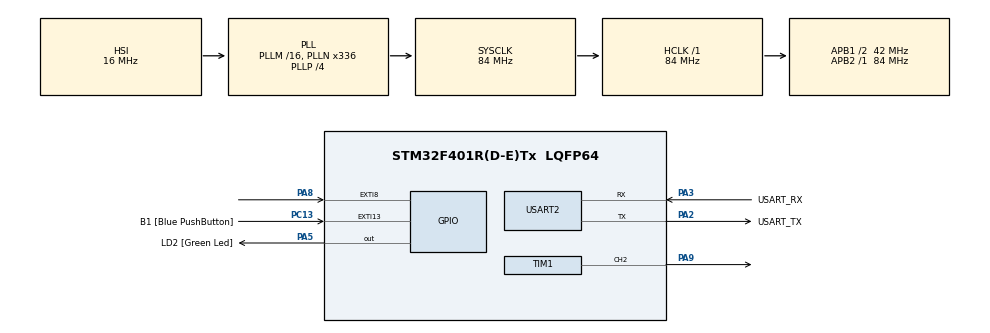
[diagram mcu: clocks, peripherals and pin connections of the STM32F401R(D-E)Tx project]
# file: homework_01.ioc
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Mcu.Family=STM32F4
Mcu.Name=STM32F401R(D-E)Tx
Mcu.Package=LQFP64
NVIC.EXTI9_5_IRQn=true\:0\:0\:false\:false\:true\:true\:true\:true
NVIC.PriorityGroup=NVIC_PRIORITYGROUP_0
NVIC.TIM2_IRQn=true\:0\:0\:false\:false\:true\:true\:true\:true
PA13.GPIO_Label=TMS
PA13.Mode=Serial_Wire
PA13.Signal=SYS_JTMS-SWDIO
PA14.GPIO_Label=TCK
PA14.Mode=Serial_Wire
PA14.Signal=SYS_JTCK-SWCLK
PA2.GPIO_Label=USART_TX
PA2.GPIO_Mode=GPIO_MODE_AF_PP
PA2.GPIO_PuPd=GPIO_NOPULL
PA2.GPIO_Speed=GPIO_SPEED_FREQ_LOW
PA2.Mode=Asynchronous
PA2.Signal=USART2_TX
PA3.GPIO_Label=USART_RX
PA3.GPIO_Mode=GPIO_MODE_AF_PP
PA3.GPIO_PuPd=GPIO_NOPULL
PA3.GPIO_Speed=GPIO_SPEED_FREQ_LOW
PA3.Mode=Asynchronous
PA3.Signal=USART2_RX
PA5.GPIO_Label=LD2 [Green Led]
PA5.GPIO_Mode=GPIO_MODE_OUTPUT_PP
PA5.GPIO_PuPd=GPIO_NOPULL
PA5.GPIO_Speed=GPIO_SPEED_FREQ_LOW
PA5.Signal=GPIO_Output
PA8.Signal=GPXTI8
PA9.Signal=S_TIM1_CH2
PB3.GPIO_Label=SWO
PB3.Signal=SYS_JTDO-SWO
PC13-ANTI_TAMP.GPIO_Label=B1 [Blue PushButton]
PC13-ANTI_TAMP.GPIO_ModeDefaultEXTI=GPIO_MODE_IT_FALLING
PC13-ANTI_TAMP.GPIO_PuPd=GPIO_NOPULL
PC13-ANTI_TAMP.Signal=GPXTI13
PC14-OSC32_IN.Mode=LSE-External-Oscillator
PC14-OSC32_IN.Signal=RCC_OSC32_IN
PC15-OSC32_OUT.Mode=LSE-External-Oscillator
PC15-OSC32_OUT.Signal=RCC_OSC32_OUT
PH0\ -\ OSC_IN.Mode=HSE-External-Clock-Source
PH0\ -\ OSC_IN.Signal=RCC_OSC_IN
PH1\ -\ OSC_OUT.Mode=HSE-External-Clock-Source
PH1\ -\ OSC_OUT.Signal=RCC_OSC_OUT
ProjectManager.HeapSize=0x200
ProjectManager.StackSize=0x400
ProjectManager.TargetToolchain=STM32CubeIDE
RCC.48MHZClocksFreq_Value=48000000
RCC.AHBFreq_Value=84000000
RCC.APB1CLKDivider=RCC_HCLK_DIV2
RCC.APB1Freq_Value=42000000
RCC.APB1TimFreq_Value=84000000
RCC.APB2Freq_Value=84000000
RCC.APB2TimFreq_Value=84000000
RCC.CortexFreq_Value=84000000
RCC.HCLKFreq_Value=84000000
RCC.HSE_VALUE=8000000
RCC.HSI_VALUE=16000000
RCC.PLLN=336
RCC.PLLP=RCC_PLLP_DIV4
RCC.PLLQ=7
RCC.SYSCLKFreq_VALUE=84000000
RCC.SYSCLKSource=RCC_SYSCLKSOURCE_PLLCLK
RCC.VCOOutputFreq_Value=336000000
SH.S_TIM1_CH2.0=TIM1_CH2,PWM Generation2 CH2
TIM1.Channel-PWM\ Generation2\ CH2=TIM_CHANNEL_2
TIM2.Prescaler=8400-1
USART2.VirtualMode=VM_ASYNC
VP_TIM1_VS_ClockSourceINT.Mode=Internal
VP_TIM2_VS_ClockSourceINT.Mode=Internal
board=NUCLEO-F401RE

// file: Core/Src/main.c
/* USER CODE BEGIN Header */
/**
  ******************************************************************************
  * @file           : main.c
  * @brief          : Main program body
  ******************************************************************************
  * @attention
  *
  * Copyright (c) 2023 STMicroelectronics.
  * All rights reserved.
  *
  * This software is licensed under terms that can be found in the LICENSE file
  * in the root directory of this software component.
  * If no LICENSE file comes with this software, it is provided AS-IS.
  *
  ******************************************************************************
  */
/* USER CODE END Header */
#include "main.h"

/* USER CODE BEGIN PTD */
struct note{
	int ARR_value;
	int duration;
};
/* USER CODE END PTD */

/* USER CODE BEGIN PD */
#define PRESCALER 100
#define DO 3206
#define RE 2857
#define MI 2545
#define FA 2407
#define SOL 2143
#define LA 1909
#define SI 1700
/* USER CODE END PD */

TIM_HandleTypeDef htim1;
TIM_HandleTypeDef htim2;

UART_HandleTypeDef huart2;

/* USER CODE BEGIN PV */
struct note score[]={
		{SOL,6},
		{LA, 2},
		{SOL, 4},
		{FA, 4},
		{MI, 4},
		{FA, 4},
		{SOL, 8},
		{RE, 4},
		{MI, 4},
		{FA, 8},
		{MI, 4},
		{FA, 4},
		{SOL, 8}
};

int j_global;
int flag;
/* USER CODE END PV */

void SystemClock_Config(void);
static void MX_GPIO_Init(void);
static void MX_USART2_UART_Init(void);
static void MX_TIM1_Init(void);
static void MX_TIM2_Init(void);
/* USER CODE BEGIN PFP */
void playnote(struct note note_played);
void playsong();
/* USER CODE END PFP */

/* USER CODE BEGIN 0 */
void HAL_GPIO_EXTI_Callback(uint16_t GPIO_Pin)
{switch(GPIO_Pin){
	case(GPIO_PIN_8):
			HAL_GPIO_TogglePin(GPIOA, GPIO_PIN_5);
			flag = 1;
		break;
	default:
		break;
}
}
/* USER CODE END 0 */

int main(void)
{

  /* MCU Configuration--------------------------------------------------------*/

  /* Reset of all peripherals, Initializes the Flash interface and the Systick. */
  HAL_Init();

  /* Configure the system clock */
  SystemClock_Config();

  /* Initialize all configured peripherals */
  MX_GPIO_Init();
  MX_USART2_UART_Init();
  MX_TIM1_Init();
  MX_TIM2_Init();
  /* USER CODE BEGIN 2 */
  HAL_TIM_Base_Start_IT(&htim2);

  /* USER CODE END 2 */

  /* Infinite loop */
  /* USER CODE BEGIN WHILE */
  while (1)
  {
	  if(flag){
		  playsong();
	  }
    /* USER CODE END WHILE */

  }
}

void SystemClock_Config(void)
{
  RCC_OscInitTypeDef RCC_OscInitStruct = {0};
  RCC_ClkInitTypeDef RCC_ClkInitStruct = {0};

  /** Configure the main internal regulator output voltage
  */
  __HAL_RCC_PWR_CLK_ENABLE();
  __HAL_PWR_VOLTAGESCALING_CONFIG(PWR_REGULATOR_VOLTAGE_SCALE2);

  /** Initializes the RCC Oscillators according to the specified parameters
  * in the RCC_OscInitTypeDef structure.
  */
  RCC_OscInitStruct.OscillatorType = RCC_OSCILLATORTYPE_HSI;
  RCC_OscInitStruct.HSIState = RCC_HSI_ON;
  RCC_OscInitStruct.HSICalibrationValue = RCC_HSICALIBRATION_DEFAULT;
  RCC_OscInitStruct.PLL.PLLState = RCC_PLL_ON;
  RCC_OscInitStruct.PLL.PLLSource = RCC_PLLSOURCE_HSI;
  RCC_OscInitStruct.PLL.PLLM = 16;
  RCC_OscInitStruct.PLL.PLLN = 336;
  RCC_OscInitStruct.PLL.PLLP = RCC_PLLP_DIV4;
  RCC_OscInitStruct.PLL.PLLQ = 7;
  if (HAL_RCC_OscConfig(&RCC_OscInitStruct) != HAL_OK)
  {
    Error_Handler();
  }

  /** Initializes the CPU, AHB and APB buses clocks
  */
  RCC_ClkInitStruct.ClockType = RCC_CLOCKTYPE_HCLK|RCC_CLOCKTYPE_SYSCLK
                              |RCC_CLOCKTYPE_PCLK1|RCC_CLOCKTYPE_PCLK2;
  RCC_ClkInitStruct.SYSCLKSource = RCC_SYSCLKSOURCE_PLLCLK;
  RCC_ClkInitStruct.AHBCLKDivider = RCC_SYSCLK_DIV1;
  RCC_ClkInitStruct.APB1CLKDivider = RCC_HCLK_DIV2;
  RCC_ClkInitStruct.APB2CLKDivider = RCC_HCLK_DIV1;

  if (HAL_RCC_ClockConfig(&RCC_ClkInitStruct, FLASH_LATENCY_2) != HAL_OK)
  {
    Error_Handler();
  }
}

static void MX_TIM1_Init(void)
{

  TIM_ClockConfigTypeDef sClockSourceConfig = {0};
  TIM_MasterConfigTypeDef sMasterConfig = {0};
  TIM_OC_InitTypeDef sConfigOC = {0};
  TIM_BreakDeadTimeConfigTypeDef sBreakDeadTimeConfig = {0};

  htim1.Instance = TIM1;
  htim1.Init.Prescaler = 0;
  htim1.Init.CounterMode = TIM_COUNTERMODE_UP;
  htim1.Init.Period = 65535;
  htim1.Init.ClockDivision = TIM_CLOCKDIVISION_DIV1;
  htim1.Init.RepetitionCounter = 0;
  htim1.Init.AutoReloadPreload = TIM_AUTORELOAD_PRELOAD_DISABLE;
  if (HAL_TIM_Base_Init(&htim1) != HAL_OK)
  {
    Error_Handler();
  }
  sClockSourceConfig.ClockSource = TIM_CLOCKSOURCE_INTERNAL;
  if (HAL_TIM_ConfigClockSource(&htim1, &sClockSourceConfig) != HAL_OK)
  {
    Error_Handler();
  }
  if (HAL_TIM_PWM_Init(&htim1) != HAL_OK)
  {
    Error_Handler();
  }
  sMasterConfig.MasterOutputTrigger = TIM_TRGO_RESET;
  sMasterConfig.MasterSlaveMode = TIM_MASTERSLAVEMODE_DISABLE;
  if (HAL_TIMEx_MasterConfigSynchronization(&htim1, &sMasterConfig) != HAL_OK)
  {
    Error_Handler();
  }
  sConfigOC.OCMode = TIM_OCMODE_PWM1;
  sConfigOC.Pulse = 0;
  sConfigOC.OCPolarity = TIM_OCPOLARITY_HIGH;
  sConfigOC.OCNPolarity = TIM_OCNPOLARITY_HIGH;
  sConfigOC.OCFastMode = TIM_OCFAST_DISABLE;
  sConfigOC.OCIdleState = TIM_OCIDLESTATE_RESET;
  sConfigOC.OCNIdleState = TIM_OCNIDLESTATE_RESET;
  if (HAL_TIM_PWM_ConfigChannel(&htim1, &sConfigOC, TIM_CHANNEL_2) != HAL_OK)
  {
    Error_Handler();
  }
  sBreakDeadTimeConfig.OffStateRunMode = TIM_OSSR_DISABLE;
  sBreakDeadTimeConfig.OffStateIDLEMode = TIM_OSSI_DISABLE;
  sBreakDeadTimeConfig.LockLevel = TIM_LOCKLEVEL_OFF;
  sBreakDeadTimeConfig.DeadTime = 0;
  sBreakDeadTimeConfig.BreakState = TIM_BREAK_DISABLE;
  sBreakDeadTimeConfig.BreakPolarity = TIM_BREAKPOLARITY_HIGH;
  sBreakDeadTimeConfig.AutomaticOutput = TIM_AUTOMATICOUTPUT_DISABLE;
  if (HAL_TIMEx_ConfigBreakDeadTime(&htim1, &sBreakDeadTimeConfig) != HAL_OK)
  {
    Error_Handler();
  }
  HAL_TIM_MspPostInit(&htim1);

}

static void MX_TIM2_Init(void)
{

  TIM_ClockConfigTypeDef sClockSourceConfig = {0};
  TIM_MasterConfigTypeDef sMasterConfig = {0};

  htim2.Instance = TIM2;
  htim2.Init.Prescaler = 8400-1;
  htim2.Init.CounterMode = TIM_COUNTERMODE_UP;
  htim2.Init.Period = 750 - 1;
  htim2.Init.ClockDivision = TIM_CLOCKDIVISION_DIV1;
  htim2.Init.AutoReloadPreload = TIM_AUTORELOAD_PRELOAD_DISABLE;
  if (HAL_TIM_Base_Init(&htim2) != HAL_OK)
  {
    Error_Handler();
  }
  sClockSourceConfig.ClockSource = TIM_CLOCKSOURCE_INTERNAL;
  if (HAL_TIM_ConfigClockSource(&htim2, &sClockSourceConfig) != HAL_OK)
  {
    Error_Handler();
  }
  sMasterConfig.MasterOutputTrigger = TIM_TRGO_RESET;
  sMasterConfig.MasterSlaveMode = TIM_MASTERSLAVEMODE_DISABLE;
  if (HAL_TIMEx_MasterConfigSynchronization(&htim2, &sMasterConfig) != HAL_OK)
  {
    Error_Handler();
  }

}

static void MX_USART2_UART_Init(void)
{

  huart2.Instance = USART2;
  huart2.Init.BaudRate = 115200;
  huart2.Init.WordLength = UART_WORDLENGTH_8B;
  huart2.Init.StopBits = UART_STOPBITS_1;
  huart2.Init.Parity = UART_PARITY_NONE;
  huart2.Init.Mode = UART_MODE_TX_RX;
  huart2.Init.HwFlowCtl = UART_HWCONTROL_NONE;
  huart2.Init.OverSampling = UART_OVERSAMPLING_16;
  if (HAL_UART_Init(&huart2) != HAL_OK)
  {
    Error_Handler();
  }

}

static void MX_GPIO_Init(void)
{
  GPIO_InitTypeDef GPIO_InitStruct = {0};

  /* GPIO Ports Clock Enable */
  __HAL_RCC_GPIOC_CLK_ENABLE();
  __HAL_RCC_GPIOH_CLK_ENABLE();
  __HAL_RCC_GPIOA_CLK_ENABLE();
  __HAL_RCC_GPIOB_CLK_ENABLE();

  /*Configure GPIO pin Output Level */
  HAL_GPIO_WritePin(LD2_GPIO_Port, LD2_Pin, GPIO_PIN_RESET);

  /*Configure GPIO pin : B1_Pin */
  GPIO_InitStruct.Pin = B1_Pin;
  GPIO_InitStruct.Mode = GPIO_MODE_IT_FALLING;
  GPIO_InitStruct.Pull = GPIO_NOPULL;
  HAL_GPIO_Init(B1_GPIO_Port, &GPIO_InitStruct);

  /*Configure GPIO pin : LD2_Pin */
  GPIO_InitStruct.Pin = LD2_Pin;
  GPIO_InitStruct.Mode = GPIO_MODE_OUTPUT_PP;
  GPIO_InitStruct.Pull = GPIO_NOPULL;
  GPIO_InitStruct.Speed = GPIO_SPEED_FREQ_LOW;
  HAL_GPIO_Init(LD2_GPIO_Port, &GPIO_InitStruct);

  /*Configure GPIO pin : PA8 */
  GPIO_InitStruct.Pin = GPIO_PIN_8;
  GPIO_InitStruct.Mode = GPIO_MODE_IT_RISING;
  GPIO_InitStruct.Pull = GPIO_NOPULL;
  HAL_GPIO_Init(GPIOA, &GPIO_InitStruct);

  /* EXTI interrupt init*/
  HAL_NVIC_SetPriority(EXTI9_5_IRQn, 0, 0);
  HAL_NVIC_EnableIRQ(EXTI9_5_IRQn);

}

/* USER CODE BEGIN 4 */
void playnote(struct note note_played){
	  /* USER CODE BEGIN TIM1_Init 0 */

	  /* USER CODE END TIM1_Init 0 */

	  TIM_ClockConfigTypeDef sClockSourceConfig = {0};
	  TIM_MasterConfigTypeDef sMasterConfig = {0};
	  TIM_OC_InitTypeDef sConfigOC = {0};
	  TIM_BreakDeadTimeConfigTypeDef sBreakDeadTimeConfig = {0};

	  /* USER CODE BEGIN TIM1_Init 1 */

	  /* USER CODE END TIM1_Init 1 */
	  htim1.Instance = TIM1;
	  htim1.Init.Prescaler = PRESCALER -1;
	  htim1.Init.CounterMode = TIM_COUNTERMODE_UP;
	  htim1.Init.Period = note_played.ARR_value -1;
	  htim1.Init.ClockDivision = TIM_CLOCKDIVISION_DIV1;
	  htim1.Init.RepetitionCounter = 0;
	  htim1.Init.AutoReloadPreload = TIM_AUTORELOAD_PRELOAD_DISABLE;
	  if (HAL_TIM_Base_Init(&htim1) != HAL_OK)
	  {
	    Error_Handler();
	  }
	  sClockSourceConfig.ClockSource = TIM_CLOCKSOURCE_INTERNAL;
	  if (HAL_TIM_ConfigClockSource(&htim1, &sClockSourceConfig) != HAL_OK)
	  {
	    Error_Handler();
	  }
	  if (HAL_TIM_PWM_Init(&htim1) != HAL_OK)
	  {
	    Error_Handler();
	  }
	  sMasterConfig.MasterOutputTrigger = TIM_TRGO_RESET;
	  sMasterConfig.MasterSlaveMode = TIM_MASTERSLAVEMODE_DISABLE;
	  if (HAL_TIMEx_MasterConfigSynchronization(&htim1, &sMasterConfig) != HAL_OK)
	  {
	    Error_Handler();
	  }
	  sConfigOC.OCMode = TIM_OCMODE_PWM1;
	  sConfigOC.Pulse = (note_played.ARR_value-1)/2;
	  sConfigOC.OCPolarity = TIM_OCPOLARITY_HIGH;
	  sConfigOC.OCNPolarity = TIM_OCNPOLARITY_HIGH;
	  sConfigOC.OCFastMode = TIM_OCFAST_DISABLE;
	  sConfigOC.OCIdleState = TIM_OCIDLESTATE_RESET;
	  sConfigOC.OCNIdleState = TIM_OCNIDLESTATE_RESET;
	  if (HAL_TIM_PWM_ConfigChannel(&htim1, &sConfigOC, TIM_CHANNEL_2) != HAL_OK)
	  {
	    Error_Handler();
	  }
	  sBreakDeadTimeConfig.OffStateRunMode = TIM_OSSR_DISABLE;
	  sBreakDeadTimeConfig.OffStateIDLEMode = TIM_OSSI_DISABLE;
	  sBreakDeadTimeConfig.LockLevel = TIM_LOCKLEVEL_OFF;
	  sBreakDeadTimeConfig.DeadTime = 0;
	  sBreakDeadTimeConfig.BreakState = TIM_BREAK_DISABLE;
	  sBreakDeadTimeConfig.BreakPolarity = TIM_BREAKPOLARITY_HIGH;
	  sBreakDeadTimeConfig.AutomaticOutput = TIM_AUTOMATICOUTPUT_DISABLE;
	  if (HAL_TIMEx_ConfigBreakDeadTime(&htim1, &sBreakDeadTimeConfig) != HAL_OK)
	  {
	    Error_Handler();
	  }

	  HAL_TIM_PWM_Start(&htim1, TIM_CHANNEL_2);
	  while(j_global < note_played.duration){

	  }
	  //if(note_played.duration < j_global){
		  HAL_TIM_PWM_Stop(&htim1, TIM_CHANNEL_2);
	  //}
	  j_global = 0;
}

void playsong(){
	int length;
	int i;

	length = sizeof(score)/sizeof(score[0]);
	for(i=0; i<length;i++){
		playnote(score[i]);
	}
	flag=0;
}

/* USER CODE END 4 */

void Error_Handler(void)
{
  __disable_irq();
  while (1)
  {
  }
}
